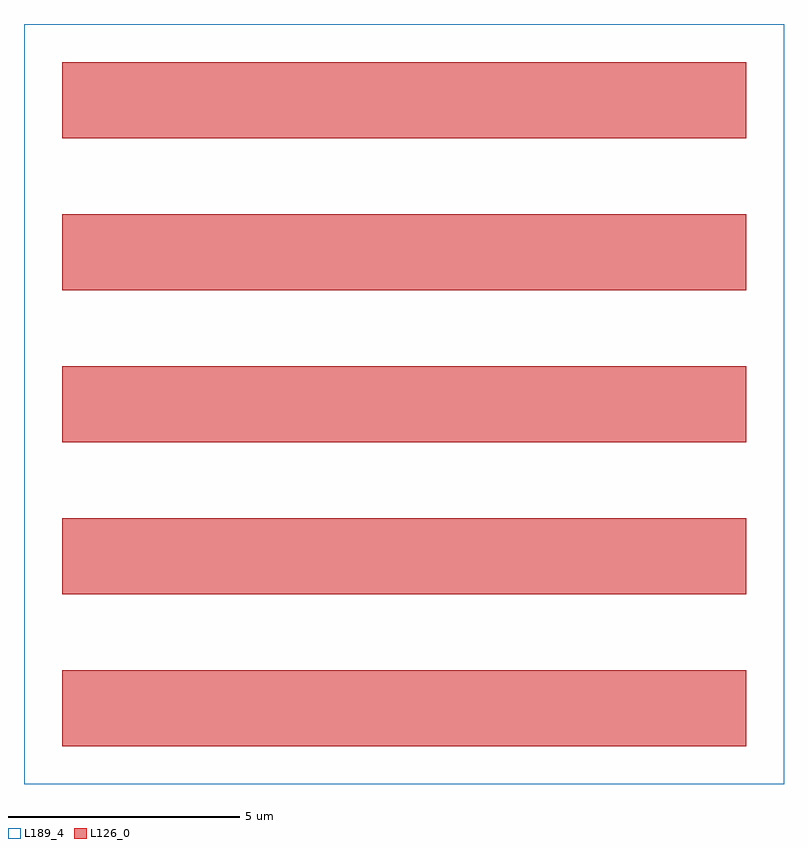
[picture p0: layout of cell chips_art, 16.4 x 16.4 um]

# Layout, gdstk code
import gdstk
lib = gdstk.Library(unit=1e-6, precision=1e-09)
def R(c, l, rs):  # rectangles x0, y0, x1, y1
    for r in rs: c.add(gdstk.rectangle(r[:2], r[2:], *l))
def A(c, l, x, y, w, h, nx, ny, dx, dy):  # array of equal rectangles
    R(c, l, [(x+i*dx, y+j*dy, x+i*dx+w, y+j*dy+h) for i in range(nx) for j in range(ny)])
L126_0 = (126, 0)
L189_4 = (189, 4)

chips_art = lib.new_cell('chips_art')
A(chips_art, L126_0, 0.82, 0.82, 14.76, 1.64, 1, 5, 0, 3.28)
R(chips_art, L189_4, [(0,0,16.4,16.4)])

lib.write_gds('chips_art.gds')
